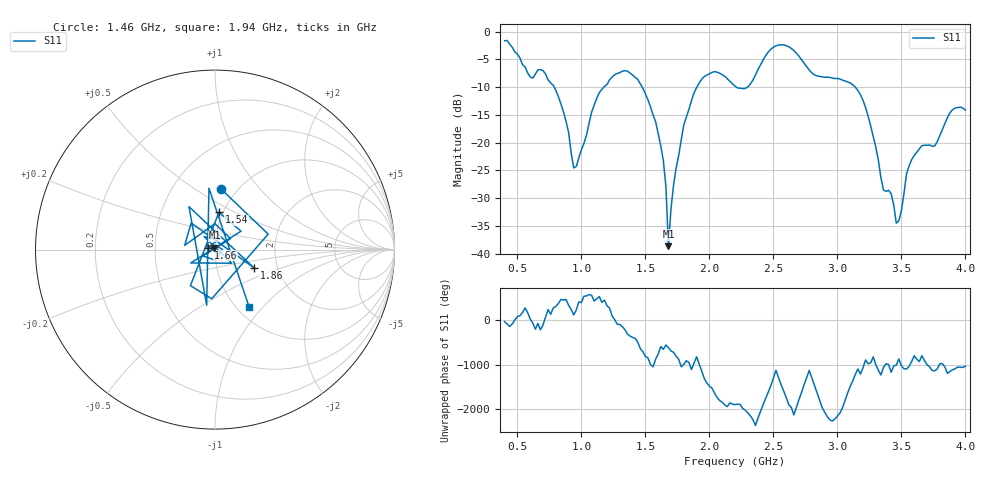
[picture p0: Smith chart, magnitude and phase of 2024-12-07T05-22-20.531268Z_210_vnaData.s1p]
!Created with skrf (http://scikit-rf.org).
# Hz S RI R 50.0
!freq ReS11 ImS11
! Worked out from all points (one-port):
!   181 points, 400 MHz to 4 GHz, reference 50 ohm
!   lowest |S11| = -38.6 dB at 1.68 GHz (marker M1), VSWR 1.02, Z = 49.7 + j1.13 ohm
!   |S11| at or under -10 dB: 786.9 MHz to 1.176 GHz (389.1 MHz wide, 39.6 % of centre); 1.475 GHz to 1.902 GHz (427.3 MHz wide, 25.3 % of centre); 3.14 GHz to end of sweep (the widest 3 of 4)
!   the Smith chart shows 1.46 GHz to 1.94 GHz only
!   S11 on the Smith chart (normalised r, x): 1.46 GHz: 0.84, +0.64; 1.54 GHz: 0.96, +0.42; 1.66 GHz: 0.92, +0.02; 1.86 GHz: 1.51, -0.32; 1.94 GHz: 1.14, -0.85
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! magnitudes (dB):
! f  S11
! 400 MHz  -1.7
! 600 MHz  -8.2
! 700 MHz  -7.0
! 860 MHz  -14.4
! 960 MHz  -24.3
! 1.14 GHz  -11.0
! 1.3 GHz  -7.4
! 1.46 GHz  -9.4
! 1.54 GHz  -13.6
! 1.62 GHz  -20.6
! 1.66 GHz  -27.9
! 1.68 GHz  -38.6
! 1.72 GHz  -27.7
! 1.76 GHz  -22.3
! 1.86 GHz  -12.4
! 1.94 GHz  -8.6
! 2.2 GHz  -9.8
! 2.3 GHz  -10.0
! 2.5 GHz  -2.8
! 2.66 GHz  -3.4
! 3.1 GHz  -9.3
! 3.22 GHz  -13.7
! 3.36 GHz  -28.5
! 3.42 GHz  -29.2
! 3.46 GHz  -34.5
! 3.56 GHz  -24.2
! 3.9 GHz  -14.1
! 4 GHz  -14.1
